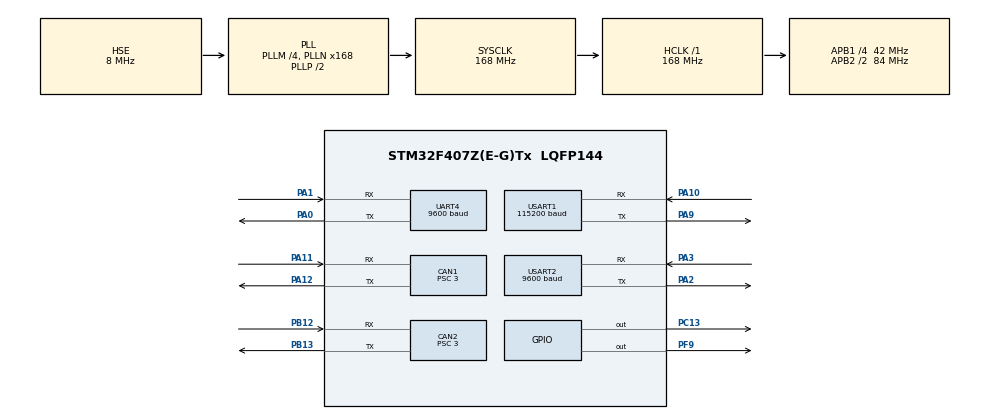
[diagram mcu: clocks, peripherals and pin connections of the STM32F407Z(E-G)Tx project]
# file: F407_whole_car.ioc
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CAN1.BS1=CAN_BS1_12TQ
CAN1.CalculateBaudRate=1000000
CAN1.CalculateTimeBit=1000
CAN1.CalculateTimeQuantum=71.42857142857143
CAN1.Prescaler=3
CAN2.BS1=CAN_BS1_12TQ
CAN2.CalculateBaudRate=1000000
CAN2.CalculateTimeBit=1000
CAN2.CalculateTimeQuantum=71.42857142857143
CAN2.Prescaler=3
Mcu.Family=STM32F4
Mcu.Name=STM32F407Z(E-G)Tx
Mcu.Package=LQFP144
NVIC.CAN1_RX0_IRQn=true\:0\:0\:true\:false\:true\:true\:true\:true
NVIC.CAN1_RX1_IRQn=true\:0\:0\:false\:false\:true\:true\:true\:true
NVIC.CAN1_SCE_IRQn=true\:0\:0\:false\:false\:true\:true\:true\:true
NVIC.CAN1_TX_IRQn=true\:0\:0\:false\:false\:true\:true\:true\:true
NVIC.CAN2_RX0_IRQn=true\:0\:0\:false\:false\:true\:true\:true\:true
NVIC.CAN2_TX_IRQn=true\:0\:0\:false\:false\:true\:true\:true\:true
NVIC.PriorityGroup=NVIC_PRIORITYGROUP_4
NVIC.TIM2_IRQn=true\:0\:0\:false\:false\:true\:true\:true\:true
NVIC.TIM3_IRQn=true\:0\:0\:false\:false\:true\:true\:true\:true
NVIC.TIM4_IRQn=true\:0\:0\:false\:false\:true\:true\:true\:true
NVIC.TIM5_IRQn=true\:0\:0\:false\:false\:true\:true\:true\:true
NVIC.UART4_IRQn=true\:1\:0\:true\:false\:true\:true\:true\:true
NVIC.USART1_IRQn=true\:0\:0\:true\:false\:true\:true\:true\:true
NVIC.USART2_IRQn=true\:0\:0\:false\:false\:true\:true\:true\:true
PA0-WKUP.Mode=Asynchronous
PA0-WKUP.Signal=UART4_TX
PA1.Mode=Asynchronous
PA1.Signal=UART4_RX
PA10.Mode=Asynchronous
PA10.Signal=USART1_RX
PA11.Mode=CAN_Activate
PA11.Signal=CAN1_RX
PA12.Mode=CAN_Activate
PA12.Signal=CAN1_TX
PA13.Mode=Serial_Wire
PA13.Signal=SYS_JTMS-SWDIO
PA14.Mode=Serial_Wire
PA14.Signal=SYS_JTCK-SWCLK
PA2.Mode=Asynchronous
PA2.Signal=USART2_TX
PA3.Mode=Asynchronous
PA3.Signal=USART2_RX
PA9.Mode=Asynchronous
PA9.Signal=USART1_TX
PB12.Mode=CAN_Activate
PB12.Signal=CAN2_RX
PB13.Mode=CAN_Activate
PB13.Signal=CAN2_TX
PC13-ANTI_TAMP.Signal=GPIO_Output
PF9.GPIO_PuPd=GPIO_PULLUP
PF9.Signal=GPIO_Output
PH0-OSC_IN.Mode=HSE-External-Oscillator
PH0-OSC_IN.Signal=RCC_OSC_IN
PH1-OSC_OUT.Mode=HSE-External-Oscillator
PH1-OSC_OUT.Signal=RCC_OSC_OUT
ProjectManager.HeapSize=0x200
ProjectManager.StackSize=0x400
ProjectManager.TargetToolchain=MDK-ARM V5.32
RCC.48MHZClocksFreq_Value=84000000
RCC.AHBFreq_Value=168000000
RCC.APB1CLKDivider=RCC_HCLK_DIV4
RCC.APB1Freq_Value=42000000
RCC.APB1TimFreq_Value=84000000
RCC.APB2CLKDivider=RCC_HCLK_DIV2
RCC.APB2Freq_Value=84000000
RCC.APB2TimFreq_Value=168000000
RCC.CortexFreq_Value=168000000
RCC.HCLKFreq_Value=168000000
RCC.HSE_VALUE=8000000
RCC.HSI_VALUE=16000000
RCC.LSE_VALUE=32768
RCC.PLLM=4
RCC.PLLN=168
RCC.PLLSourceVirtual=RCC_PLLSOURCE_HSE
RCC.SYSCLKFreq_VALUE=168000000
RCC.SYSCLKSource=RCC_SYSCLKSOURCE_PLLCLK
RCC.VCOOutputFreq_Value=336000000
TIM2.Period=1000
TIM2.Prescaler=168
TIM3.Period=19999
TIM3.Prescaler=8399
TIM4.Period=24999
TIM4.Prescaler=8399
TIM5.Period=26999
TIM5.Prescaler=8399
UART4.BaudRate=9600
UART4.VirtualMode=Asynchronous
USART1.BaudRate=115200
USART1.VirtualMode=VM_ASYNC
USART2.BaudRate=9600
USART2.VirtualMode=VM_ASYNC
VP_TIM2_VS_ClockSourceINT.Mode=Internal
VP_TIM3_VS_ClockSourceINT.Mode=Internal
VP_TIM4_VS_ClockSourceINT.Mode=Internal
VP_TIM5_VS_ClockSourceINT.Mode=Internal
board=custom

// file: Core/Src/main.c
/* USER CODE BEGIN Header */
/**
  ******************************************************************************
  * @file           : main.c
  * @brief          : Main program body
  ******************************************************************************
  * @attention
  *
  * Copyright (c) 2025 STMicroelectronics.
  * All rights reserved.
  *
  * This software is licensed under terms that can be found in the LICENSE file
  * in the root directory of this software component.
  * If no LICENSE file comes with this software, it is provided AS-IS.
  *
  ******************************************************************************
  */
/* USER CODE END Header */
#include "main.h"
#include "can.h"
#include "tim.h"
#include "usart.h"
#include "gpio.h"

/* USER CODE BEGIN Includes */
#include "include.h"
/* USER CODE END Includes */

/* USER CODE BEGIN PTD */
//extern uint8_t qigang_flag;
/* USER CODE END PTD */

void SystemClock_Config(void);

int main(void)
{

  /* MCU Configuration--------------------------------------------------------*/

  /* Reset of all peripherals, Initializes the Flash interface and the Systick. */
  HAL_Init();

  /* Configure the system clock */
  SystemClock_Config();

  /* Initialize all configured peripherals */
  MX_GPIO_Init();
  MX_CAN1_Init();
  MX_CAN2_Init();
  MX_USART1_UART_Init();
  MX_TIM2_Init();
  MX_USART2_UART_Init();
  MX_UART4_Init();
  MX_TIM3_Init();
  MX_TIM4_Init();
  MX_TIM5_Init();
  /* USER CODE BEGIN 2 */

  user_init();

  /* USER CODE END 2 */

  /* Infinite loop */
  /* USER CODE BEGIN WHILE */

//  set_vl_omega(vl_omega,0);
//  set_velocity(&tool_v,receive_data[0],receive_data[1]);
//  set_vl_wheel(vl_wheel_ave,tool_v,0,0);
	while(1)
	{
		static uint8_t time_count=0;

		if(time_up)
		{

			switch (run_mode)
			{

				case DEAL_DATA_AS_SPEED_IN_LOCAL_COORDINATE_SYSTEM:
				{
					local_velocity_mode_run_with_angle_displacement();

				}break;

				case DEAL_DATA_AS_SPEED_IN_WORLD_COORDINATE_SYSTEM:
				{

					world_velocity_mode_run();

				}break;

				case DEAL_DATA_AS_DISPLACEMENT:
				{

					world_displacement_mode_run();

				}break;

				case 0x04:
				{
					pure_local_velocity_mode_run();
				}break;

				default:{CAN1_CMD_1(PID_velocity_realize_1(0,1),PID_velocity_realize_1(0,2),PID_velocity_realize_1(0,3),0);}break;

			}

			cybergear_control();
			//*****************************
//			if(qigang_flag == 1)HAL_GPIO_WritePin(GPIOF, GPIO_PIN_9, GPIO_PIN_SET);  //����
//			if(qigang_flag == 2)HAL_GPIO_WritePin(GPIOF, GPIO_PIN_9, GPIO_PIN_RESET);//�½�
			msg_control();
			++time_count;
			if(time_count==5) hwt605_request_yaw();
			if(time_count==10){
				hwt605_request_omega();
				time_count=0;
			}
			time_up=0;
//			Shot_Task_Handler();
		}
//			 MI_motor_Control(&MI_Motor[2],-3,-3.4,28.2,21,2.5);//Ԥ��  ����>9.5
//	     HAL_GPIO_WritePin(GPIOF, GPIO_PIN_9, GPIO_PIN_SET);//����
//			 delay_ms(200);
//			 HAL_GPIO_WritePin(GPIOF, GPIO_PIN_9, GPIO_PIN_RESET);//�½�
////			 if(mi_mode_flag == 1) delay_ms(250);
////			 if(mi_mode_flag == 2) delay_ms(290);
////			 if(mi_mode_flag == 3) delay_ms(300);
//       delay_ms(300);
//			 MI_motor_Control(&MI_Motor[2],2,0.7,29,300,4.4);//����
//			 HAL_Delay(10000);
    /* USER CODE END WHILE */

	}
}

void SystemClock_Config(void)
{
  RCC_OscInitTypeDef RCC_OscInitStruct = {0};
  RCC_ClkInitTypeDef RCC_ClkInitStruct = {0};

  /** Configure the main internal regulator output voltage
  */
  __HAL_RCC_PWR_CLK_ENABLE();
  __HAL_PWR_VOLTAGESCALING_CONFIG(PWR_REGULATOR_VOLTAGE_SCALE1);

  /** Initializes the RCC Oscillators according to the specified parameters
  * in the RCC_OscInitTypeDef structure.
  */
  RCC_OscInitStruct.OscillatorType = RCC_OSCILLATORTYPE_HSE;
  RCC_OscInitStruct.HSEState = RCC_HSE_ON;
  RCC_OscInitStruct.PLL.PLLState = RCC_PLL_ON;
  RCC_OscInitStruct.PLL.PLLSource = RCC_PLLSOURCE_HSE;
  RCC_OscInitStruct.PLL.PLLM = 4;
  RCC_OscInitStruct.PLL.PLLN = 168;
  RCC_OscInitStruct.PLL.PLLP = RCC_PLLP_DIV2;
  RCC_OscInitStruct.PLL.PLLQ = 4;
  if (HAL_RCC_OscConfig(&RCC_OscInitStruct) != HAL_OK)
  {
    Error_Handler();
  }

  /** Initializes the CPU, AHB and APB buses clocks
  */
  RCC_ClkInitStruct.ClockType = RCC_CLOCKTYPE_HCLK|RCC_CLOCKTYPE_SYSCLK
                              |RCC_CLOCKTYPE_PCLK1|RCC_CLOCKTYPE_PCLK2;
  RCC_ClkInitStruct.SYSCLKSource = RCC_SYSCLKSOURCE_PLLCLK;
  RCC_ClkInitStruct.AHBCLKDivider = RCC_SYSCLK_DIV1;
  RCC_ClkInitStruct.APB1CLKDivider = RCC_HCLK_DIV4;
  RCC_ClkInitStruct.APB2CLKDivider = RCC_HCLK_DIV2;

  if (HAL_RCC_ClockConfig(&RCC_ClkInitStruct, FLASH_LATENCY_5) != HAL_OK)
  {
    Error_Handler();
  }
}

void Error_Handler(void)
{
  __disable_irq();
  while (1)
  {
  }
}
